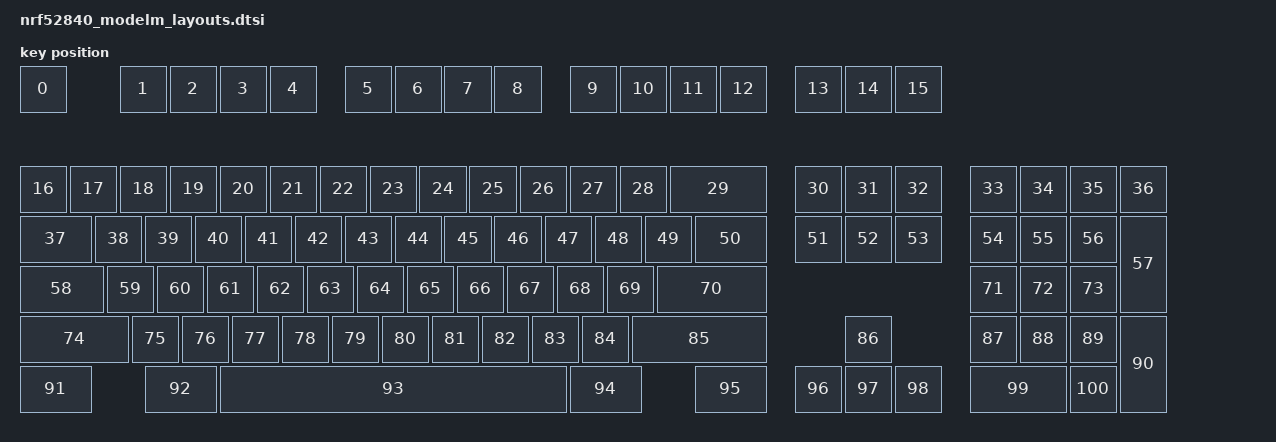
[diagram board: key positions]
#include <physical_layouts.dtsi>

/ {
    ansi101_physical_layout: ansi101_physical_layout {
        compatible = "zmk,physical-layout";
        display-name = "ANSI 101 Layout";
        keys  //                     w   h    x    y     rot    rx    ry
            = <&key_physical_attrs 100 100    0    0       0     0     0>
            , <&key_physical_attrs 100 100  200    0       0     0     0>
            , <&key_physical_attrs 100 100  300    0       0     0     0>
            , <&key_physical_attrs 100 100  400    0       0     0     0>
            , <&key_physical_attrs 100 100  500    0       0     0     0>
            , <&key_physical_attrs 100 100  650    0       0     0     0>
            , <&key_physical_attrs 100 100  750    0       0     0     0>
            , <&key_physical_attrs 100 100  850    0       0     0     0>
            , <&key_physical_attrs 100 100  950    0       0     0     0>
            , <&key_physical_attrs 100 100 1100    0       0     0     0>
            , <&key_physical_attrs 100 100 1200    0       0     0     0>
            , <&key_physical_attrs 100 100 1300    0       0     0     0>
            , <&key_physical_attrs 100 100 1400    0       0     0     0>
            , <&key_physical_attrs 100 100 1550    0       0     0     0>
            , <&key_physical_attrs 100 100 1650    0       0     0     0>
            , <&key_physical_attrs 100 100 1750    0       0     0     0>
            , <&key_physical_attrs 100 100    0  200       0     0     0>
            , <&key_physical_attrs 100 100  100  200       0     0     0>
            , <&key_physical_attrs 100 100  200  200       0     0     0>
            , <&key_physical_attrs 100 100  300  200       0     0     0>
            , <&key_physical_attrs 100 100  400  200       0     0     0>
            , <&key_physical_attrs 100 100  500  200       0     0     0>
            , <&key_physical_attrs 100 100  600  200       0     0     0>
            , <&key_physical_attrs 100 100  700  200       0     0     0>
            , <&key_physical_attrs 100 100  800  200       0     0     0>
            , <&key_physical_attrs 100 100  900  200       0     0     0>
            , <&key_physical_attrs 100 100 1000  200       0     0     0>
            , <&key_physical_attrs 100 100 1100  200       0     0     0>
            , <&key_physical_attrs 100 100 1200  200       0     0     0>
            , <&key_physical_attrs 200 100 1300  200       0     0     0>
            , <&key_physical_attrs 100 100 1550  200       0     0     0>
            , <&key_physical_attrs 100 100 1650  200       0     0     0>
            , <&key_physical_attrs 100 100 1750  200       0     0     0>
            , <&key_physical_attrs 100 100 1900  200       0     0     0>
            , <&key_physical_attrs 100 100 2000  200       0     0     0>
            , <&key_physical_attrs 100 100 2100  200       0     0     0>
            , <&key_physical_attrs 100 100 2200  200       0     0     0>
            , <&key_physical_attrs 150 100    0  300       0     0     0>
            , <&key_physical_attrs 100 100  150  300       0     0     0>
            , <&key_physical_attrs 100 100  250  300       0     0     0>
            , <&key_physical_attrs 100 100  350  300       0     0     0>
            , <&key_physical_attrs 100 100  450  300       0     0     0>
            , <&key_physical_attrs 100 100  550  300       0     0     0>
            , <&key_physical_attrs 100 100  650  300       0     0     0>
            , <&key_physical_attrs 100 100  750  300       0     0     0>
            , <&key_physical_attrs 100 100  850  300       0     0     0>
            , <&key_physical_attrs 100 100  950  300       0     0     0>
            , <&key_physical_attrs 100 100 1050  300       0     0     0>
            , <&key_physical_attrs 100 100 1150  300       0     0     0>
            , <&key_physical_attrs 100 100 1250  300       0     0     0>
            , <&key_physical_attrs 150 100 1350  300       0     0     0>
            , <&key_physical_attrs 100 100 1550  300       0     0     0>
            , <&key_physical_attrs 100 100 1650  300       0     0     0>
            , <&key_physical_attrs 100 100 1750  300       0     0     0>
            , <&key_physical_attrs 100 100 1900  300       0     0     0>
            , <&key_physical_attrs 100 100 2000  300       0     0     0>
            , <&key_physical_attrs 100 100 2100  300       0     0     0>
            , <&key_physical_attrs 100 200 2200  300       0     0     0>
            , <&key_physical_attrs 175 100    0  400       0     0     0>
            , <&key_physical_attrs 100 100  175  400       0     0     0>
            , <&key_physical_attrs 100 100  275  400       0     0     0>
            , <&key_physical_attrs 100 100  375  400       0     0     0>
            , <&key_physical_attrs 100 100  475  400       0     0     0>
            , <&key_physical_attrs 100 100  575  400       0     0     0>
            , <&key_physical_attrs 100 100  675  400       0     0     0>
            , <&key_physical_attrs 100 100  775  400       0     0     0>
            , <&key_physical_attrs 100 100  875  400       0     0     0>
            , <&key_physical_attrs 100 100  975  400       0     0     0>
            , <&key_physical_attrs 100 100 1075  400       0     0     0>
            , <&key_physical_attrs 100 100 1175  400       0     0     0>
            , <&key_physical_attrs 225 100 1275  400       0     0     0>
            , <&key_physical_attrs 100 100 1900  400       0     0     0>
            , <&key_physical_attrs 100 100 2000  400       0     0     0>
            , <&key_physical_attrs 100 100 2100  400       0     0     0>
            , <&key_physical_attrs 225 100    0  500       0     0     0>
            , <&key_physical_attrs 100 100  225  500       0     0     0>
            , <&key_physical_attrs 100 100  325  500       0     0     0>
            , <&key_physical_attrs 100 100  425  500       0     0     0>
            , <&key_physical_attrs 100 100  525  500       0     0     0>
            , <&key_physical_attrs 100 100  625  500       0     0     0>
            , <&key_physical_attrs 100 100  725  500       0     0     0>
            , <&key_physical_attrs 100 100  825  500       0     0     0>
            , <&key_physical_attrs 100 100  925  500       0     0     0>
            , <&key_physical_attrs 100 100 1025  500       0     0     0>
            , <&key_physical_attrs 100 100 1125  500       0     0     0>
            , <&key_physical_attrs 275 100 1225  500       0     0     0>
            , <&key_physical_attrs 100 100 1650  500       0     0     0>
            , <&key_physical_attrs 100 100 1900  500       0     0     0>
            , <&key_physical_attrs 100 100 2000  500       0     0     0>
            , <&key_physical_attrs 100 100 2100  500       0     0     0>
            , <&key_physical_attrs 100 200 2200  500       0     0     0>
            , <&key_physical_attrs 150 100    0  600       0     0     0>
            , <&key_physical_attrs 150 100  250  600       0     0     0>
            , <&key_physical_attrs 700 100  400  600       0     0     0>
            , <&key_physical_attrs 150 100 1100  600       0     0     0>
            , <&key_physical_attrs 150 100 1350  600       0     0     0>
            , <&key_physical_attrs 100 100 1550  600       0     0     0>
            , <&key_physical_attrs 100 100 1650  600       0     0     0>
            , <&key_physical_attrs 100 100 1750  600       0     0     0>
            , <&key_physical_attrs 200 100 1900  600       0     0     0>
            , <&key_physical_attrs 100 100 2100  600       0     0     0>
            ;
    };

    position_map {
        compatible = "zmk,physical-layout-position-map";
        complete; // Optional, see 'Example non-complete position map'

        ansi_101_layout: ansi_101_layout {
            physical-layout = <&ansi101_physical_layout>;
            positions
                = < 0  1  2  3  4  5  6  7  8  9 10 11 12 13 14 15>
                , <16 17 18 19 20 21 22 23 24 25 26 27 28 29 30 31>
                , <32 33 34 35 36 37 38 39 40 41 42 43 44 45 46 47>
                , <48 49 50 51 52 53 54 55 56 57 58 59 60 61 62 63>
                , <64 65 66 67 68 69 70 71 72 73 74 75 76 77 78 79>
                , <80 81 82 83 84 85 86 87 88 89 90 91 92 93 94 95>
                , <96 97 98 99 100>
                ;
        };
    };
};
